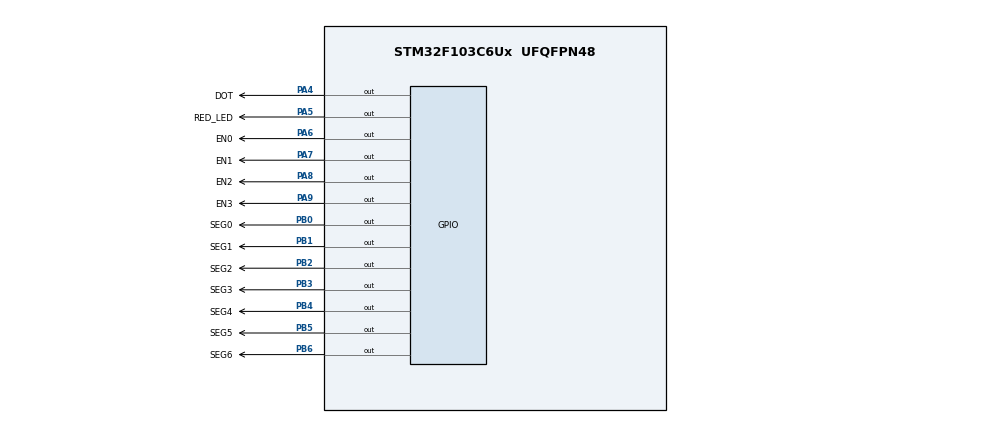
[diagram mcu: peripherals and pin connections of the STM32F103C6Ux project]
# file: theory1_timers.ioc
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Mcu.Family=STM32F1
Mcu.Name=STM32F103C6Ux
Mcu.Package=UFQFPN48
NVIC.PriorityGroup=NVIC_PRIORITYGROUP_4
NVIC.TIM2_IRQn=true\:0\:0\:false\:false\:true\:true\:true
PA4.GPIO_Label=DOT
PA4.Signal=GPIO_Output
PA5.GPIO_Label=RED_LED
PA5.Signal=GPIO_Output
PA6.GPIO_Label=EN0
PA6.Signal=GPIO_Output
PA7.GPIO_Label=EN1
PA7.Signal=GPIO_Output
PA8.GPIO_Label=EN2
PA8.Signal=GPIO_Output
PA9.GPIO_Label=EN3
PA9.Signal=GPIO_Output
PB0.GPIO_Label=SEG0
PB0.Signal=GPIO_Output
PB1.GPIO_Label=SEG1
PB1.Signal=GPIO_Output
PB2.GPIO_Label=SEG2
PB2.Signal=GPIO_Output
PB3.GPIO_Label=SEG3
PB3.Signal=GPIO_Output
PB4.GPIO_Label=SEG4
PB4.Signal=GPIO_Output
PB5.GPIO_Label=SEG5
PB5.Signal=GPIO_Output
PB6.GPIO_Label=SEG6
PB6.Signal=GPIO_Output
ProjectManager.HeapSize=0x200
ProjectManager.StackSize=0x400
ProjectManager.TargetToolchain=STM32CubeIDE
RCC.APB1Freq_Value=8000000
RCC.APB2Freq_Value=8000000
TIM2.Period=10 - 1
TIM2.Prescaler=8000 - 1
VP_SYS_VS_ND.Mode=No_Debug
VP_TIM2_VS_ClockSourceINT.Mode=Internal
board=custom

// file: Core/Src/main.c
/* USER CODE BEGIN Header */
/**
  ******************************************************************************
  * @file           : main.c
  * @brief          : Main program body
  ******************************************************************************
  * @attention
  *
  * <h2><center>&copy; Copyright (c) 2021 STMicroelectronics.
  * All rights reserved.</center></h2>
  *
  * This software component is licensed by ST under BSD 3-Clause license,
  * the "License"; You may not use this file except in compliance with the
  * License. You may obtain a copy of the License at:
  *                        opensource.org/licenses/BSD-3-Clause
  *
  ******************************************************************************
  */
/* USER CODE END Header */
#include "main.h"
/* USER CODE BEGIN Includes */
#include "timer.h"
#include "7segclock.h"
/* USER CODE END Includes */

TIM_HandleTypeDef htim2;

void SystemClock_Config(void);
static void MX_GPIO_Init(void);
static void MX_TIM2_Init(void);

int main(void)
{

  /* MCU Configuration--------------------------------------------------------*/

  /* Reset of all peripherals, Initializes the Flash interface and the Systick. */
  HAL_Init();

  /* Configure the system clock */
  SystemClock_Config();

  /* Initialize all configured peripherals */
  MX_GPIO_Init();
  MX_TIM2_Init();
  /* USER CODE BEGIN 2 */
  HAL_TIM_Base_Start_IT(&htim2);
/*  // exercise 5
  uint8_t hour = 15, minute = 8, second = 50;*/

/*  // exercise 6
  setTimer0(10);*/

  // exercise 7 & 8
  uint8_t index_clk = 0;
  uint8_t hour = 15, minute = 8, second = 50;
  Buffer_Update_7seg(0, hour/10);
  Buffer_Update_7seg(1, hour%10);
  Buffer_Update_7seg(2, minute/10);
  Buffer_Update_7seg(3, minute%10);
  timer_set(0, 10);
  timer_set(1, 10);

  /* USER CODE END 2 */

  /* Infinite loop */
  while (1)
  {
    /* USER CODE BEGIN 3 */
/*	  // exercise 5
	  second++;
	  if (second >= 60) {
	  	second = 0;
	  	minute++;
	  }
	  if (minute >= 60) {
	  	minute = 0;
	 		hour++;
	  }
	  if (hour >= 24) {
	  	hour = 0;
	  }
	  // update hour
	  Buffer_Update_7seg(0, hour/10);
	  Driver_7seg(0);
	  HAL_Delay(100);
	  Buffer_Update_7seg(1, hour%10);
	  Driver_7seg(1);
	  HAL_Delay(100);

	  // update minute
	  Buffer_Update_7seg(2, minute/10);
	  Driver_7seg(2);
	  HAL_Delay(100);
	  Buffer_Update_7seg(3, minute%10);
	  Driver_7seg(3);
	  HAL_Delay(100);

	  // halt
	  Buffer_Update_7seg(4, 99);
	  HAL_Delay(100);

	  HAL_Delay(500);*/

/*	  // exercise 6
	  if (timer0_flag == 1){
		  HAL_GPIO_TogglePin(RED_LED_GPIO_Port, RED_LED_Pin);
		  setTimer0(2000);
	  }*/

	  // exercise 7 & 8
	  if (timer_flag[0] == 1){
		  HAL_GPIO_TogglePin(DOT_GPIO_Port, DOT_Pin);
		  second++;
		  if (second >= 60) {
		  	second = 0;
		  	minute++;
		  }
		  if (minute >= 60) {
		  	minute = 0;
		 		hour++;
		  }
		  if (hour >= 24) {
		  	hour = 0;
		  }
		  // update hour & minute
		  Buffer_Update_7seg(0, hour/10);
		  Buffer_Update_7seg(1, hour%10);
		  Buffer_Update_7seg(2, minute/10);
		  Buffer_Update_7seg(3, minute%10);
		  // delay
		  timer_set(0, 1000);
	  }

	  if (timer_flag[1] == 1){
		  // display
		  Driver_7seg(index_clk++);
		  if (index_clk > 3) index_clk = 0;
		  // delay
		  timer_set(1, 250);
	  }
  }

  /* USER CODE END 3 */
}

void SystemClock_Config(void)
{
  RCC_OscInitTypeDef RCC_OscInitStruct = {0};
  RCC_ClkInitTypeDef RCC_ClkInitStruct = {0};

  /** Initializes the RCC Oscillators according to the specified parameters
  * in the RCC_OscInitTypeDef structure.
  */
  RCC_OscInitStruct.OscillatorType = RCC_OSCILLATORTYPE_HSI;
  RCC_OscInitStruct.HSIState = RCC_HSI_ON;
  RCC_OscInitStruct.HSICalibrationValue = RCC_HSICALIBRATION_DEFAULT;
  RCC_OscInitStruct.PLL.PLLState = RCC_PLL_NONE;
  if (HAL_RCC_OscConfig(&RCC_OscInitStruct) != HAL_OK)
  {
    Error_Handler();
  }
  /** Initializes the CPU, AHB and APB buses clocks
  */
  RCC_ClkInitStruct.ClockType = RCC_CLOCKTYPE_HCLK|RCC_CLOCKTYPE_SYSCLK
                              |RCC_CLOCKTYPE_PCLK1|RCC_CLOCKTYPE_PCLK2;
  RCC_ClkInitStruct.SYSCLKSource = RCC_SYSCLKSOURCE_HSI;
  RCC_ClkInitStruct.AHBCLKDivider = RCC_SYSCLK_DIV1;
  RCC_ClkInitStruct.APB1CLKDivider = RCC_HCLK_DIV1;
  RCC_ClkInitStruct.APB2CLKDivider = RCC_HCLK_DIV1;

  if (HAL_RCC_ClockConfig(&RCC_ClkInitStruct, FLASH_LATENCY_0) != HAL_OK)
  {
    Error_Handler();
  }
}

static void MX_TIM2_Init(void)
{

  TIM_ClockConfigTypeDef sClockSourceConfig = {0};
  TIM_MasterConfigTypeDef sMasterConfig = {0};

  htim2.Instance = TIM2;
  htim2.Init.Prescaler = 8000 - 1;
  htim2.Init.CounterMode = TIM_COUNTERMODE_UP;
  htim2.Init.Period = 10 - 1;
  htim2.Init.ClockDivision = TIM_CLOCKDIVISION_DIV1;
  htim2.Init.AutoReloadPreload = TIM_AUTORELOAD_PRELOAD_DISABLE;
  if (HAL_TIM_Base_Init(&htim2) != HAL_OK)
  {
    Error_Handler();
  }
  sClockSourceConfig.ClockSource = TIM_CLOCKSOURCE_INTERNAL;
  if (HAL_TIM_ConfigClockSource(&htim2, &sClockSourceConfig) != HAL_OK)
  {
    Error_Handler();
  }
  sMasterConfig.MasterOutputTrigger = TIM_TRGO_RESET;
  sMasterConfig.MasterSlaveMode = TIM_MASTERSLAVEMODE_DISABLE;
  if (HAL_TIMEx_MasterConfigSynchronization(&htim2, &sMasterConfig) != HAL_OK)
  {
    Error_Handler();
  }

}

static void MX_GPIO_Init(void)
{
  GPIO_InitTypeDef GPIO_InitStruct = {0};

  /* GPIO Ports Clock Enable */
  __HAL_RCC_GPIOA_CLK_ENABLE();
  __HAL_RCC_GPIOB_CLK_ENABLE();

  /*Configure GPIO pin Output Level */
  HAL_GPIO_WritePin(GPIOA, DOT_Pin|RED_LED_Pin|EN0_Pin|EN1_Pin
                          |EN2_Pin|EN3_Pin, GPIO_PIN_RESET);

  /*Configure GPIO pin Output Level */
  HAL_GPIO_WritePin(GPIOB, SEG0_Pin|SEG1_Pin|SEG2_Pin|SEG3_Pin
                          |SEG4_Pin|SEG5_Pin|SEG6_Pin, GPIO_PIN_RESET);

  /*Configure GPIO pins : DOT_Pin RED_LED_Pin EN0_Pin EN1_Pin
                           EN2_Pin EN3_Pin */
  GPIO_InitStruct.Pin = DOT_Pin|RED_LED_Pin|EN0_Pin|EN1_Pin
                          |EN2_Pin|EN3_Pin;
  GPIO_InitStruct.Mode = GPIO_MODE_OUTPUT_PP;
  GPIO_InitStruct.Pull = GPIO_NOPULL;
  GPIO_InitStruct.Speed = GPIO_SPEED_FREQ_LOW;
  HAL_GPIO_Init(GPIOA, &GPIO_InitStruct);

  /*Configure GPIO pins : SEG0_Pin SEG1_Pin SEG2_Pin SEG3_Pin
                           SEG4_Pin SEG5_Pin SEG6_Pin */
  GPIO_InitStruct.Pin = SEG0_Pin|SEG1_Pin|SEG2_Pin|SEG3_Pin
                          |SEG4_Pin|SEG5_Pin|SEG6_Pin;
  GPIO_InitStruct.Mode = GPIO_MODE_OUTPUT_PP;
  GPIO_InitStruct.Pull = GPIO_NOPULL;
  GPIO_InitStruct.Speed = GPIO_SPEED_FREQ_LOW;
  HAL_GPIO_Init(GPIOB, &GPIO_InitStruct);

}

/* USER CODE BEGIN 4 */
/*// test
int counter = 1;
void HAL_TIM_PeriodElapsedCallback(TIM_HandleTypeDef *htim){
	counter--;
	if (counter <= 0){
		counter = 1;
		HAL_GPIO_TogglePin(RED_LED_GPIO_Port, RED_LED_Pin);
	}
}*/

/*// exercise 1
uint8_t led_cnt = 50;
uint8_t cnt = 50;
uint8_t sw_clk = 0;
void HAL_TIM_PeriodElapsedCallback(TIM_HandleTypeDef *htim){
	led_cnt--;
	cnt--;
	if (led_cnt == 0){
		led_cnt = 50;
		HAL_GPIO_TogglePin(RED_LED_GPIO_Port, RED_LED_Pin);
	}
	if (cnt == 0){
		cnt = 50;
		Buffer_Update_7seg(sw_clk, sw_clk + 1);
		Driver_7seg(sw_clk++);
		if (sw_clk == 2) sw_clk = 0;
	}
}*/

/*// exercise 2
uint8_t led_cnt = 100;
uint8_t cnt = 50;
uint8_t sw_clk = 0;
void HAL_TIM_PeriodElapsedCallback(TIM_HandleTypeDef *htim){
	led_cnt--;
	cnt--;
	if (led_cnt == 0){
		led_cnt = 100;
		HAL_GPIO_TogglePin(DOT_GPIO_Port, DOT_Pin);
	}
	if (cnt == 0){
		cnt = 50;
		if (sw_clk == 0) {
			Buffer_Update_7seg(sw_clk, 1);
			Driver_7seg(sw_clk);
		}
		if (sw_clk == 1) {
			Buffer_Update_7seg(sw_clk, 2);
			Driver_7seg(sw_clk);
		}
		if (sw_clk == 2) {
			Buffer_Update_7seg(sw_clk, 3);
			Driver_7seg(sw_clk);
		}
		if (sw_clk == 3) {
			Buffer_Update_7seg(sw_clk, 0);
			Driver_7seg(sw_clk);
		}
		sw_clk++;
		if (sw_clk == 4) sw_clk = 0;
	}
}*/

/*// exercise 3
uint8_t led_cnt = 100;
uint8_t cnt = 50;
uint8_t sw_clk = 0;
void HAL_TIM_PeriodElapsedCallback(TIM_HandleTypeDef *htim){
	led_cnt--;
	cnt--;
	if (led_cnt == 0){
		led_cnt = 100;
		HAL_GPIO_TogglePin(DOT_GPIO_Port, DOT_Pin);
	}
	if (cnt == 0){
		cnt = 50;
		Buffer_Update_7seg(sw_clk, sw_clk + 1);
		Driver_7seg(sw_clk++);
		if (sw_clk == 4) sw_clk = 0;
	}
}*/

/*// exercise 4
uint8_t led_cnt = 100;
uint8_t cnt = 25;
uint8_t sw_clk = 0;
void HAL_TIM_PeriodElapsedCallback(TIM_HandleTypeDef *htim){
	led_cnt--;
	cnt--;
	if (led_cnt == 0){
		led_cnt = 100;
		HAL_GPIO_TogglePin(DOT_GPIO_Port, DOT_Pin);
	}
	if (cnt == 0){
		cnt = 25;
		Buffer_Update_7seg(sw_clk, sw_clk + 1);
		Driver_7seg(sw_clk++);
		if (sw_clk == 4) sw_clk = 0;
	}
}*/

// exercise 5 (in the while loop)

// exercise 6, 7 & 8 (timer.c & timer.h)

/* USER CODE END 4 */

void Error_Handler(void)
{
  __disable_irq();
  while (1)
  {
  }
}

/************************ (C) COPYRIGHT STMicroelectronics *****END OF FILE****/
